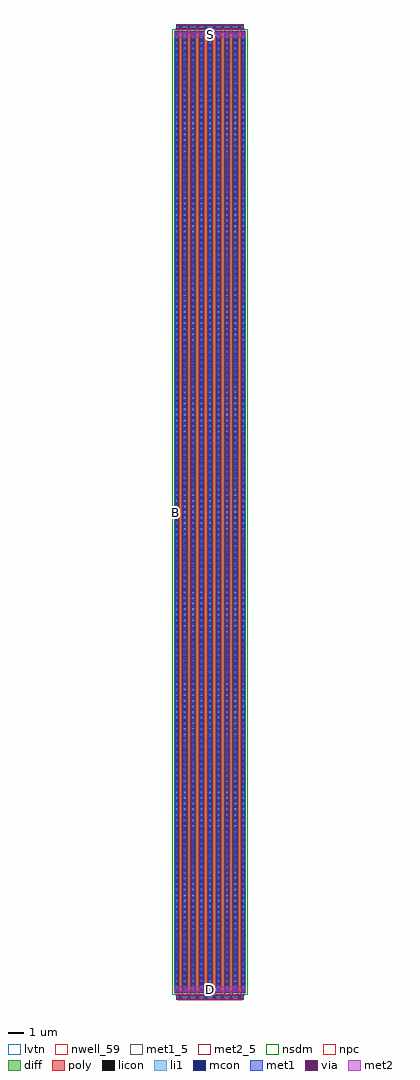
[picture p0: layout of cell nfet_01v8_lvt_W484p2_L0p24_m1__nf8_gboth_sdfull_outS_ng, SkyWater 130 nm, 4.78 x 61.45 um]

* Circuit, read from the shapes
.subckt nfet_01v8_lvt_W484p2_L0p24_m1__nf8_gboth_sdfull_outS_ng B D G S
XM1 D G S B sky130_fd_pr__nfet_01v8_lvt w=60.53 l=0.24 m=8
.ends

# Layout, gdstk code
import gdstk
lib = gdstk.Library(unit=1e-6, precision=1e-09)
def R(c, l, rs):  # rectangles x0, y0, x1, y1
    for r in rs: c.add(gdstk.rectangle(r[:2], r[2:], *l))
def A(c, l, x, y, w, h, nx, ny, dx, dy):  # array of equal rectangles
    R(c, l, [(x+i*dx, y+j*dy, x+i*dx+w, y+j*dy+h) for i in range(nx) for j in range(ny)])
nwell_59 = (64, 59)
diff = (65, 20)
poly = (66, 20)
licon = (66, 44)
li1 = (67, 20)
mcon = (67, 44)
met1_5 = (68, 5)
met1 = (68, 20)
via = (68, 44)
met2_5 = (69, 5)
met2 = (69, 20)
nsdm = (93, 44)
npc = (95, 20)
lvtn = (125, 44)

sky130_fd_pr__nfet_01v8_ = lib.new_cell('sky130_fd_pr__nfet_01v8_lvt_8HPWW4')
R(sky130_fd_pr__nfet_01v8_, diff, [(-2.265,-30.265,2.265,30.265)])
A(sky130_fd_pr__nfet_01v8_, poly, -1.975, -30.375, 0.24, 60.75, 8, 1, 0.53, 0)
R(sky130_fd_pr__nfet_01v8_, poly, [(-2.12,-30.705,2.12,-30.375), (-2.12,30.375,2.12,30.705)])
A(sky130_fd_pr__nfet_01v8_, licon, -1.94, -30.625, 0.17, 0.17, 8, 2, 0.53, 61.08)
A(sky130_fd_pr__nfet_01v8_, licon, -2.205, -30.175, 0.17, 0.17, 9, 178, 0.53, 0.34)
A(sky130_fd_pr__nfet_01v8_, li1, -2.205, -30.285, 0.17, 60.57, 9, 1, 0.53, 0)
R(sky130_fd_pr__nfet_01v8_, li1, [(-2.12,-30.625,2.12,-30.455), (-2.12,30.455,2.12,30.625)])
A(sky130_fd_pr__nfet_01v8_, mcon, -1.94, -30.625, 0.17, 0.17, 8, 2, 0.53, 61.08)
A(sky130_fd_pr__nfet_01v8_, mcon, -2.205, -30.145, 0.17, 0.17, 9, 168, 0.53, 0.36)
A(sky130_fd_pr__nfet_01v8_, met1, -2, -30.655, 0.29, 0.03, 8, 2, 0.53, 0.2)
A(sky130_fd_pr__nfet_01v8_, met1, -2.235, -30.265, 0.23, 60.53, 9, 1, 0.53, 0)
A(sky130_fd_pr__nfet_01v8_, met1, -2, 30.425, 0.29, 0.03, 8, 2, 0.53, 0.2)
R(sky130_fd_pr__nfet_01v8_, met1, [(-2.12,-30.625,2.12,-30.455), (-2.12,30.455,2.12,30.625)])
R(sky130_fd_pr__nfet_01v8_, nsdm, [(-2.39,-30.39,2.39,30.39)])
R(sky130_fd_pr__nfet_01v8_, npc, [(-2.04,-30.725,2.04,-30.355), (-2.04,30.355,2.04,30.725)])
R(sky130_fd_pr__nfet_01v8_, lvtn, [(-2.155,-30.445,2.155,30.445)])
sky130_fd_pr__nfet_01v8_.add(gdstk.Label('D0', (-2.12,0), layer=67, texttype=5))
sky130_fd_pr__nfet_01v8_.add(gdstk.Label('G', (1.855,30.54), layer=67, texttype=5))
sky130_fd_pr__nfet_01v8_.add(gdstk.Label('G', (1.325,30.54), layer=67, texttype=5))
sky130_fd_pr__nfet_01v8_.add(gdstk.Label('G', (0.795,30.54), layer=67, texttype=5))
sky130_fd_pr__nfet_01v8_.add(gdstk.Label('G', (0.265,30.54), layer=67, texttype=5))
sky130_fd_pr__nfet_01v8_.add(gdstk.Label('G', (-0.265,30.54), layer=67, texttype=5))
sky130_fd_pr__nfet_01v8_.add(gdstk.Label('G', (-0.795,30.54), layer=67, texttype=5))
sky130_fd_pr__nfet_01v8_.add(gdstk.Label('G', (-1.325,30.54), layer=67, texttype=5))
sky130_fd_pr__nfet_01v8_.add(gdstk.Label('G', (-1.855,30.54), layer=67, texttype=5))
sky130_fd_pr__nfet_01v8_.add(gdstk.Label('S1', (-1.59,0), layer=67, texttype=5))
sky130_fd_pr__nfet_01v8_.add(gdstk.Label('D2', (-1.06,0), layer=67, texttype=5))
sky130_fd_pr__nfet_01v8_.add(gdstk.Label('S3', (-0.53,0), layer=67, texttype=5))
sky130_fd_pr__nfet_01v8_.add(gdstk.Label('D4', (0,0), layer=67, texttype=5))
sky130_fd_pr__nfet_01v8_.add(gdstk.Label('S5', (0.53,0), layer=67, texttype=5))
sky130_fd_pr__nfet_01v8_.add(gdstk.Label('D6', (1.06,0), layer=67, texttype=5))
sky130_fd_pr__nfet_01v8_.add(gdstk.Label('S7', (1.59,0), layer=67, texttype=5))

nfet_01v8_lvt_w484p2_l0p = lib.new_cell('nfet_01v8_lvt_W484p2_L0p24_m1__nf8_gboth_sdfull_outS_ng')
R(nfet_01v8_lvt_w484p2_l0p, nwell_59, [(0.05,30.655,0.15,30.755)])
R(nfet_01v8_lvt_w484p2_l0p, met1_5, [(0.145,61.13,4.385,61.36)])
A(nfet_01v8_lvt_w484p2_l0p, met1, 0.545, 0.49, 0.26, 0.32, 4, 1, 1.06, 0)
A(nfet_01v8_lvt_w484p2_l0p, met1, 0.015, 60.6, 0.26, 0.32, 5, 1, 1.06, 0)
R(nfet_01v8_lvt_w484p2_l0p, met1, [(0.145,61.13,4.385,61.36)])
A(nfet_01v8_lvt_w484p2_l0p, via, 0.6, 0.575, 0.15, 0.15, 4, 1, 1.06, 0)
A(nfet_01v8_lvt_w484p2_l0p, via, 0.07, 60.685, 0.15, 0.15, 5, 1, 1.06, 0)
R(nfet_01v8_lvt_w484p2_l0p, met2_5, [(0.01,0.49,4.52,0.81), (0.01,60.6,4.52,60.92)])
R(nfet_01v8_lvt_w484p2_l0p, met2, [(0.01,0.49,4.52,0.81), (0.01,60.6,4.52,60.92)])
nfet_01v8_lvt_w484p2_l0p.add(gdstk.Reference(sky130_fd_pr__nfet_01v8_, (2.265,30.705)))
nfet_01v8_lvt_w484p2_l0p.add(gdstk.Label('S', (2.265,60.76), layer=69, texttype=5))
nfet_01v8_lvt_w484p2_l0p.add(gdstk.Label('D', (2.265,0.65), layer=69, texttype=5))
nfet_01v8_lvt_w484p2_l0p.add(gdstk.Label('G', (2.265,61.245), layer=68, texttype=5))
nfet_01v8_lvt_w484p2_l0p.add(gdstk.Label('B', (0.1,30.705), layer=64, texttype=59))

lib.write_gds('nfet_01v8_lvt_W484p2_L0p24_m1__nf8_gboth_sdfull_outS_ng.gds')
